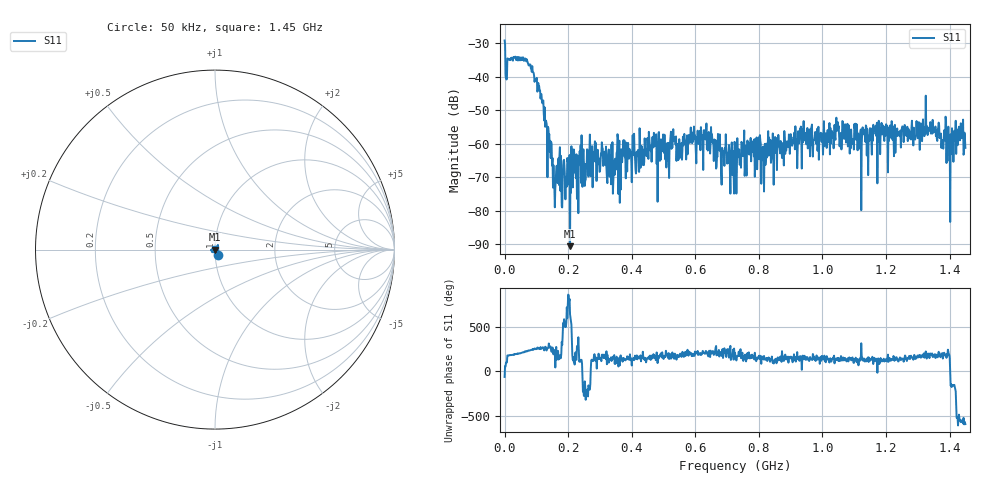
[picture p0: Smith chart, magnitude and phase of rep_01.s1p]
! Created with skrf 1.11.0 (http://scikit-rf.org).
# Hz S RI R 50.0
!freq ReS11 ImS11
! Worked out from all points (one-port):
!   1001 points, 50 kHz to 1.45 GHz, reference 50 ohm
!   lowest |S11| = -90.5 dB at 205.9 MHz (marker M1), VSWR 1.00, Z = 50 - j0.0029 ohm
!   |S11| at or under -10 dB: start of sweep to end of sweep
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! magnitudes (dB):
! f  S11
! 50 kHz  -29.2
! 10.2 MHz  -34.5
! 85.6 MHz  -38.5
! 114.6 MHz  -45.2
! 156.6 MHz  -73.0
! 181.3 MHz  -79.0
! 205.9 MHz  -90.5
! 240.7 MHz  -71.6
! 250.9 MHz  -66.5
! 268.3 MHz  -57.2
! 336.4 MHz  -60.1
! 362.5 MHz  -77.6
! 469.8 MHz  -56.7
! 511.9 MHz  -64.4
! 529.3 MHz  -58.8
! 543.8 MHz  -64.9
! 633.7 MHz  -57.6
! 725 MHz  -60.5
! 771.4 MHz  -60.3
! 814.9 MHz  -61.7
! 906.3 MHz  -58.8
! 1.045 GHz  -56.2
! 1.088 GHz  -59.2
! 1.269 GHz  -59.2
! 1.333 GHz  -55.9
! 1.407 GHz  -59.3
! 1.436 GHz  -53.9
! 1.45 GHz  -61.2
